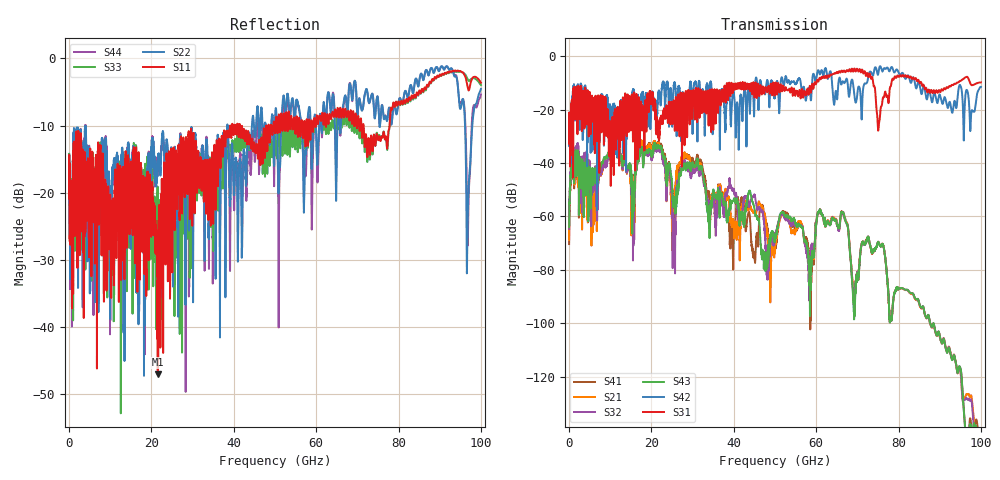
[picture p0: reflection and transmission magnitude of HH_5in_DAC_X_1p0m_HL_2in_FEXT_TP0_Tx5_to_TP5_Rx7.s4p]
# GHz S RI R 45
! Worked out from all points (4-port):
!   4000 points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, 25 MHz to 100 GHz, reference 45 ohm
!   strongest paths, dB at 25 MHz, 25.02 GHz, 50.02 GHz, 75.03 GHz, 100 GHz:
!     S31: -22.2, -20.0, -11.8, -27.5, -9.8
!     S42: -22.0, -22.6, -14.7, -7.0, -11.5
!     S43: -64.0, -47.7, -68.9, -69.6, -160.4
!     S32: -64.6, -53.5, -67.4, -69.6, -155.4
!     S21: -68.7, -59.6, -71.3, -69.7, -150.4
!     S41: -70.4, -55.0, -72.7, -69.7, -161.2
!   lowest |S11| = -47.0 dB at 21.55 GHz (marker M1), VSWR 1.01, Z = 45.2 - j0.359 ohm
!   |S11| at or under -10 dB: start of sweep to 39.15 GHz; 41.52 GHz to 47.87 GHz (6.353 GHz wide, 14.2 % of centre); 71.52 GHz to 77.83 GHz (6.31 GHz wide, 8.45 % of centre)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
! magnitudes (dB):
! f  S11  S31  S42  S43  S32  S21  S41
! 25 MHz  -15.4  -22.2  -22.0  -64.0  -64.6  -68.7  -70.4
! 21.55 GHz  -47.0  -27.4  -17.8  -33.4  -34.3  -32.5  -32.2
! 25.48 GHz  -15.1  -17.7  -10.7  -53.2  -63.1  -54.3  -54.5
! 28.27 GHz  -13.4  -13.8  -19.8  -42.0  -41.1  -37.4  -37.9
! 44.85 GHz  -13.1  -10.5  -19.8  -55.9  -52.5  -58.7  -73.9
! 48.2 GHz  -12.8  -12.9  -9.2  -76.8  -83.7  -66.2  -64.5
! 100 GHz  -3.6  -9.8  -11.5  -160.4  -155.4  -150.4  -161.2
